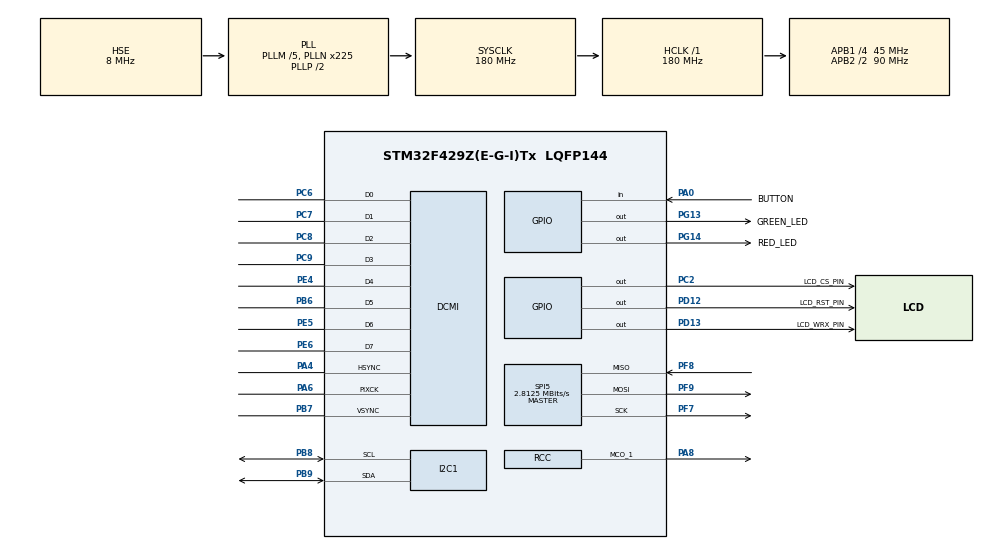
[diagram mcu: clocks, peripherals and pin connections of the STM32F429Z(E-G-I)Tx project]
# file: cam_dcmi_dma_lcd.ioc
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DCMI.PCKPolarity=DCMI_PCKPOLARITY_RISING
DCMI.VSPolarity=DCMI_VSPOLARITY_HIGH
Dma.DCMI.0.Channel=DMA_CHANNEL_1
Dma.DCMI.0.Direction=DMA_PERIPH_TO_MEMORY
Dma.DCMI.0.FIFOMode=DMA_FIFOMODE_ENABLE
Dma.DCMI.0.FIFOThreshold=DMA_FIFO_THRESHOLD_FULL
Dma.DCMI.0.Instance=DMA2_Stream1
Dma.DCMI.0.MemBurst=DMA_MBURST_SINGLE
Dma.DCMI.0.MemDataAlignment=DMA_MDATAALIGN_HALFWORD
Dma.DCMI.0.MemInc=DMA_MINC_ENABLE
Dma.DCMI.0.Mode=DMA_NORMAL
Dma.DCMI.0.PeriphBurst=DMA_PBURST_SINGLE
Dma.DCMI.0.PeriphDataAlignment=DMA_PDATAALIGN_WORD
Dma.DCMI.0.PeriphInc=DMA_PINC_DISABLE
Dma.DCMI.0.Priority=DMA_PRIORITY_VERY_HIGH
Dma.Request0=DCMI
Mcu.Family=STM32F4
Mcu.Name=STM32F429Z(E-G-I)Tx
Mcu.Package=LQFP144
NVIC.DCMI_IRQn=true\:0\:0\:false
NVIC.DMA2_Stream1_IRQn=true\:0\:0\:false
NVIC.PriorityGroup=NVIC_PRIORITYGROUP_0
NVIC.TIM3_IRQn=true\:0\:0\:false
PA0/WKUP.GPIO_Label=BUTTON
PA0/WKUP.GPIO_Mode=GPIO_MODE_INPUT
PA0/WKUP.GPIO_PuPd=GPIO_PULLDOWN
PA0/WKUP.Signal=GPIO_Input
PA13.Mode=Serial-Wire
PA13.Signal=SYS_JTMS-SWDIO
PA14.Mode=Serial-Wire
PA14.Signal=SYS_JTCK-SWCLK
PA4.Mode=Slave_8_bits_External_Synchro
PA4.Signal=DCMI_HSYNC
PA6.Mode=Slave_8_bits_External_Synchro
PA6.Signal=DCMI_PIXCK
PA8.GPIO_Mode=GPIO_MODE_AF_PP
PA8.GPIO_PuPd=GPIO_PULLUP
PA8.GPIO_Speed=GPIO_SPEED_HIGH
PA8.Mode=Clock-out-1
PA8.Signal=RCC_MCO_1
PB6.Mode=Slave_8_bits_External_Synchro
PB6.Signal=DCMI_D5
PB7.GPIO_Mode=GPIO_MODE_AF_PP
PB7.GPIO_PuPd=GPIO_NOPULL
PB7.GPIO_Speed=GPIO_SPEED_LOW
PB7.Mode=Slave_8_bits_External_Synchro
PB7.Signal=DCMI_VSYNC
PB8.GPIO_Mode=GPIO_MODE_AF_OD
PB8.GPIO_PuPdOD=GPIO_PULLUP
PB8.GPIO_Speed=GPIO_SPEED_LOW
PB8.Mode=I2C
PB8.Signal=I2C1_SCL
PB9.GPIO_Mode=GPIO_MODE_AF_OD
PB9.GPIO_PuPdOD=GPIO_PULLUP
PB9.GPIO_Speed=GPIO_SPEED_LOW
PB9.Mode=I2C
PB9.Signal=I2C1_SDA
PC2.GPIO_Label=LCD_CS_PIN
PC2.GPIO_ModeDefaultOutputPP=GPIO_MODE_OUTPUT_PP
PC2.GPIO_PuPd=GPIO_NOPULL
PC2.GPIO_Speed=GPIO_SPEED_FAST
PC2.Signal=GPIO_Output
PC6.Mode=Slave_8_bits_External_Synchro
PC6.Signal=DCMI_D0
PC7.Mode=Slave_8_bits_External_Synchro
PC7.Signal=DCMI_D1
PC8.Mode=Slave_8_bits_External_Synchro
PC8.Signal=DCMI_D2
PC9.Mode=Slave_8_bits_External_Synchro
PC9.Signal=DCMI_D3
PD12.GPIO_Label=LCD_RST_PIN
PD12.GPIO_ModeDefaultOutputPP=GPIO_MODE_OUTPUT_PP
PD12.GPIO_PuPd=GPIO_NOPULL
PD12.GPIO_Speed=GPIO_SPEED_FAST
PD12.Signal=GPIO_Output
PD13.GPIO_Label=LCD_WRX_PIN
PD13.GPIO_ModeDefaultOutputPP=GPIO_MODE_OUTPUT_PP
PD13.GPIO_PuPd=GPIO_NOPULL
PD13.GPIO_Speed=GPIO_SPEED_FAST
PD13.Signal=GPIO_Output
PE4.Mode=Slave_8_bits_External_Synchro
PE4.Signal=DCMI_D4
PE5.Mode=Slave_8_bits_External_Synchro
PE5.Signal=DCMI_D6
PE6.Mode=Slave_8_bits_External_Synchro
PE6.Signal=DCMI_D7
PF7.Mode=Full_Duplex_Master
PF7.Signal=SPI5_SCK
PF8.Mode=Full_Duplex_Master
PF8.Signal=SPI5_MISO
PF9.Mode=Full_Duplex_Master
PF9.Signal=SPI5_MOSI
PG13.GPIO_Label=GREEN_LED
PG13.GPIO_ModeDefaultOutputPP=GPIO_MODE_OUTPUT_PP
PG13.GPIO_PuPd=GPIO_NOPULL
PG13.GPIO_Speed=GPIO_SPEED_HIGH
PG13.Signal=GPIO_Output
PG14.GPIO_Label=RED_LED
PG14.GPIO_ModeDefaultOutputPP=GPIO_MODE_OUTPUT_PP
PG14.GPIO_PuPd=GPIO_NOPULL
PG14.GPIO_Speed=GPIO_SPEED_HIGH
PG14.Signal=GPIO_Output
PH0/OSC_IN.Mode=HSE-External-Oscillator
PH0/OSC_IN.Signal=RCC_OSC_IN
PH1/OSC_OUT.Mode=HSE-External-Oscillator
PH1/OSC_OUT.Signal=RCC_OSC_OUT
ProjectManager.TargetToolchain=MDK-ARM V5
RCC.48MHZClocksFreq_Value=51428571.428571425
RCC.AHBFreq_Value=180000000
RCC.APB1CLKDivider=RCC_HCLK_DIV4
RCC.APB1Freq_Value=45000000
RCC.APB1TimFreq_Value=90000000
RCC.APB2CLKDivider=RCC_HCLK_DIV2
RCC.APB2Freq_Value=90000000
RCC.APB2TimFreq_Value=180000000
RCC.CortexFreq_Value=180000000
RCC.EnbaleCSS=true
RCC.HCLKFreq_Value=180000000
RCC.HSE_VALUE=8000000
RCC.HSI_VALUE=16000000
RCC.LSE_VALUE=32768
RCC.PLLM=5
RCC.PLLN=225
RCC.PLLQ=7
RCC.PLLSourceVirtual=RCC_PLLSOURCE_HSE
RCC.RCC_MCO1Source=RCC_MCO1SOURCE_PLLCLK
RCC.RCC_MCODiv1=RCC_MCODIV_4
RCC.SYSCLKFreq_VALUE=180000000
RCC.SYSCLKSource=RCC_SYSCLKSOURCE_PLLCLK
RCC.VCOOutputFreq_Value=360000000
SPI5.BaudRatePrescaler=SPI_BAUDRATEPRESCALER_32
SPI5.CalculateBaudRate=2.8125 MBits/s
SPI5.DataSize=SPI_DATASIZE_8BIT
SPI5.Mode=SPI_MODE_MASTER
TIM3.ClockDivision=TIM_CLOCKDIVISION_DIV2
TIM3.Period=1999
TIM3.Prescaler=44999
VP_TIM3_VS_ClockSourceINT.Mode=Internal
board=STM32F429I-DISCO

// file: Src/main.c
/**
  ******************************************************************************
  * File Name          : main.c
  * Description        : Main program body
  ******************************************************************************
  *
  * COPYRIGHT(c) 2015 STMicroelectronics
  *
  * Redistribution and use in source and binary forms, with or without modification,
  * are permitted provided that the following conditions are met:
  *   1. Redistributions of source code must retain the above copyright notice,
  *      this list of conditions and the following disclaimer.
  *   2. Redistributions in binary form must reproduce the above copyright notice,
  *      this list of conditions and the following disclaimer in the documentation
  *      and/or other materials provided with the distribution.
  *   3. Neither the name of STMicroelectronics nor the names of its contributors
  *      may be used to endorse or promote products derived from this software
  *      without specific prior written permission.
  *
  * THIS SOFTWARE IS PROVIDED BY THE COPYRIGHT HOLDERS AND CONTRIBUTORS "AS IS"
  * AND ANY EXPRESS OR IMPLIED WARRANTIES, INCLUDING, BUT NOT LIMITED TO, THE
  * IMPLIED WARRANTIES OF MERCHANTABILITY AND FITNESS FOR A PARTICULAR PURPOSE ARE
  * DISCLAIMED. IN NO EVENT SHALL THE COPYRIGHT HOLDER OR CONTRIBUTORS BE LIABLE
  * FOR ANY DIRECT, INDIRECT, INCIDENTAL, SPECIAL, EXEMPLARY, OR CONSEQUENTIAL
  * DAMAGES (INCLUDING, BUT NOT LIMITED TO, PROCUREMENT OF SUBSTITUTE GOODS OR
  * SERVICES; LOSS OF USE, DATA, OR PROFITS; OR BUSINESS INTERRUPTION) HOWEVER
  * CAUSED AND ON ANY THEORY OF LIABILITY, WHETHER IN CONTRACT, STRICT LIABILITY,
  * OR TORT (INCLUDING NEGLIGENCE OR OTHERWISE) ARISING IN ANY WAY OUT OF THE USE
  * OF THIS SOFTWARE, EVEN IF ADVISED OF THE POSSIBILITY OF SUCH DAMAGE.
  *
  ******************************************************************************
  */
#include "stm32f4xx_hal.h"

/* USER CODE BEGIN Includes */
#include "lcd_ili9341.h"
#include <stdbool.h>
#include <stdio.h>
#include <stdlib.h>
#include <string.h>
/* USER CODE END Includes */

DCMI_HandleTypeDef hdcmi;
DMA_HandleTypeDef hdma_dcmi;

I2C_HandleTypeDef hi2c1;

SPI_HandleTypeDef hspi5;

TIM_HandleTypeDef htim3;

/* USER CODE BEGIN PV */
/* Private variables ---------------------------------------------------------*/

// OV7720 camera settings
#define OV7720_REG_NUM 			4
#define OV7720_WRITE_ADDR 	0x42
#define OV7720_READ_ADDR 		0x43

// Image settings
#define IMG_ROWS   					320
#define IMG_COLUMNS   			240

uint8_t OV7720_reg2 [OV7720_REG_NUM][2] = {
	{0x12, 0x80},		// Reset registers
	{0x12, 0x46},		// QVGA size, RGB mode, RGB565
	//{0x0c, 0x20},		// swap R/B bits
	//{0x0c, 0xC0},		// v+h flip
	//{0x0c, 0xE0},		// v+h flip, swap R/B bits
	{0x11, 0x01},		// PCLK settings (0x01 - XCLK/1, 0x03 - XCLK/2)
};

static volatile uint32_t frame_buffer[IMG_ROWS*IMG_COLUMNS/2];
static volatile bool frame_captured = false;
static volatile uint16_t fps = 0;
static volatile uint16_t frames = 0;
static char buffer[10];

/* USER CODE END PV */

void SystemClock_Config(void);
static void MX_GPIO_Init(void);
static void MX_DMA_Init(void);
static void MX_DCMI_Init(void);
static void MX_I2C1_Init(void);
static void MX_SPI5_Init(void);
static void MX_TIM3_Init(void);

/* USER CODE BEGIN PFP */
/* Private function prototypes -----------------------------------------------*/

/* USER CODE END PFP */

/* USER CODE BEGIN 0 */

bool SCCB_Write(uint8_t addr, uint8_t data)
{
    bool err = false;
    uint8_t buf[] = {addr, data};

    __disable_irq();
    if (HAL_I2C_Master_Transmit(&hi2c1, OV7720_WRITE_ADDR, buf, (uint16_t)2, 1000) != HAL_OK) {
        err = true;
    }
    __enable_irq();
    return err;
}

static bool OV7720_init(void)
{
	bool error = false;

	// Set camera registers
	for(uint8_t i=0; i<OV7720_REG_NUM ;i++)
	{
		error = SCCB_Write(OV7720_reg2[i][0], OV7720_reg2[i][1]);
		if (error == true) break;

		LCD_ILI9341_DrawFilledRectangle_ImageBuffer(100+i*(120/OV7720_REG_NUM), 110, 100+(i+1)*(120/OV7720_REG_NUM), 130, ILI9341_COLOR_WHITE, (uint8_t*)frame_buffer);
		LCD_ILI9341_DisplayImage((uint16_t*)frame_buffer);
	}

	return error;
}

void DMA_TransferComplete(DMA_HandleTypeDef *hdma)
{
  frame_captured = true;
	frames++;
}

void HAL_TIM_PeriodElapsedCallback(TIM_HandleTypeDef *htim) {
	fps = frames;
	frames = 0;
}

/* USER CODE END 0 */

int main(void)
{

  /* USER CODE BEGIN 1 */
	bool error = false;
  /* USER CODE END 1 */

  /* MCU Configuration----------------------------------------------------------*/

  /* Reset of all peripherals, Initializes the Flash interface and the Systick. */
  HAL_Init();

  /* Configure the system clock */
  SystemClock_Config();

  /* Initialize all configured peripherals */
  MX_GPIO_Init();
  MX_DMA_Init();
  MX_DCMI_Init();
  MX_I2C1_Init();
  MX_SPI5_Init();
  MX_TIM3_Init();

  /* USER CODE BEGIN 2 */
	LCD_ILI9341_Init(&hspi5);
	LCD_ILI9341_Rotate(LCD_ILI9341_Orientation_Landscape_2);
  LCD_ILI9341_Fill(ILI9341_COLOR_BLACK);

	LCD_ILI9341_Puts_ImageBuffer(20, 55, "Configuring camera", &LCD_Font_16x26, ILI9341_COLOR_WHITE, (uint8_t*)frame_buffer);
	LCD_ILI9341_DrawRectangle_ImageBuffer(100, 110, 220, 130, ILI9341_COLOR_WHITE, (uint8_t*)frame_buffer);
	LCD_ILI9341_DisplayImage((uint16_t*)frame_buffer);

	// Configure camera
	error = OV7720_init();

	if (error == true)
	{
		LCD_ILI9341_Puts_ImageBuffer(100, 165, "Failed", &LCD_Font_16x26, ILI9341_COLOR_RED, (uint8_t*)frame_buffer);
		LCD_ILI9341_Puts_ImageBuffer(20, 200, "Push reset button", &LCD_Font_16x26, ILI9341_COLOR_WHITE, (uint8_t*)frame_buffer);
		LCD_ILI9341_DisplayImage((uint16_t*)frame_buffer);
		while(1){}
	}
	else
	{
		LCD_ILI9341_Puts_ImageBuffer(100, 165, "Success", &LCD_Font_16x26, ILI9341_COLOR_GREEN, (uint8_t*)frame_buffer);
		LCD_ILI9341_DisplayImage((uint16_t*)frame_buffer);
	}

	LCD_SPI_BaudRateUp();
	//LCD_ILI9341_Rotate(LCD_ILI9341_Orientation_Landscape_1);

	HAL_TIM_Base_Start_IT(&htim3);

	// DCMI_MODE_SNAPSHOT / DCMI_MODE_CONTINUOUS
	HAL_DCMI_Start_DMA(&hdcmi, DCMI_MODE_SNAPSHOT, (uint32_t)frame_buffer, (uint32_t)(IMG_ROWS*IMG_COLUMNS*2/4));
	hdcmi.DMA_Handle->XferCpltCallback = DMA_TransferComplete;

  /* USER CODE END 2 */

  /* Infinite loop */
  while (1)
  {

  /* USER CODE BEGIN 3 */
		if(frame_captured == true)
		{
			snprintf(buffer, 10, "%d FPS", fps);
			LCD_ILI9341_Puts_ImageBuffer(10, 10, buffer, &LCD_Font_7x10, ILI9341_COLOR_GREEN, (uint8_t*)frame_buffer);
			//LCD_ILI9341_DrawRectangleMem(10, 10, 20, 20, ILI9341_COLOR_GREEN, (uint8_t*)frame_buffer);
			// Show camera image
			LCD_ILI9341_DisplayImage((uint16_t*)frame_buffer);
			//HAL_SPI_Transmit_DMA(&hspi5, (uint8_t*)frame_buffer, (uint16_t)(IMG_ROWS*IMG_COLUMNS));

			frame_captured = false;
			HAL_DCMI_Start_DMA(&hdcmi, DCMI_MODE_SNAPSHOT, (uint32_t)frame_buffer, (uint32_t)(IMG_ROWS*IMG_COLUMNS*2/4));
			hdcmi.DMA_Handle->XferCpltCallback = DMA_TransferComplete;
		}
  }
  /* USER CODE END 3 */

}

/** System Clock Configuration
*/
void SystemClock_Config(void)
{

  RCC_OscInitTypeDef RCC_OscInitStruct;
  RCC_ClkInitTypeDef RCC_ClkInitStruct;

  __PWR_CLK_ENABLE();

  __HAL_PWR_VOLTAGESCALING_CONFIG(PWR_REGULATOR_VOLTAGE_SCALE1);

  RCC_OscInitStruct.OscillatorType = RCC_OSCILLATORTYPE_HSE;
  RCC_OscInitStruct.HSEState = RCC_HSE_ON;
  RCC_OscInitStruct.PLL.PLLState = RCC_PLL_ON;
  RCC_OscInitStruct.PLL.PLLSource = RCC_PLLSOURCE_HSE;
  RCC_OscInitStruct.PLL.PLLM = 5;
  RCC_OscInitStruct.PLL.PLLN = 225;
  RCC_OscInitStruct.PLL.PLLP = RCC_PLLP_DIV2;
  RCC_OscInitStruct.PLL.PLLQ = 7;
  HAL_RCC_OscConfig(&RCC_OscInitStruct);

  HAL_PWREx_ActivateOverDrive();

  RCC_ClkInitStruct.ClockType = RCC_CLOCKTYPE_SYSCLK|RCC_CLOCKTYPE_PCLK1
                              |RCC_CLOCKTYPE_PCLK2;
  RCC_ClkInitStruct.SYSCLKSource = RCC_SYSCLKSOURCE_PLLCLK;
  RCC_ClkInitStruct.AHBCLKDivider = RCC_SYSCLK_DIV1;
  RCC_ClkInitStruct.APB1CLKDivider = RCC_HCLK_DIV4;
  RCC_ClkInitStruct.APB2CLKDivider = RCC_HCLK_DIV2;
  HAL_RCC_ClockConfig(&RCC_ClkInitStruct, FLASH_LATENCY_5);

  HAL_RCC_MCOConfig(RCC_MCO1, RCC_MCO1SOURCE_PLLCLK, RCC_MCODIV_4);

  HAL_RCC_EnableCSS();

  HAL_SYSTICK_Config(HAL_RCC_GetHCLKFreq()/1000);

  HAL_SYSTICK_CLKSourceConfig(SYSTICK_CLKSOURCE_HCLK);

  /* SysTick_IRQn interrupt configuration */
  HAL_NVIC_SetPriority(SysTick_IRQn, 0, 0);
}

/* DCMI init function */
void MX_DCMI_Init(void)
{

  hdcmi.Instance = DCMI;
  hdcmi.Init.SynchroMode = DCMI_SYNCHRO_HARDWARE;
  hdcmi.Init.PCKPolarity = DCMI_PCKPOLARITY_RISING;
  hdcmi.Init.VSPolarity = DCMI_VSPOLARITY_HIGH;
  hdcmi.Init.HSPolarity = DCMI_HSPOLARITY_LOW;
  hdcmi.Init.CaptureRate = DCMI_CR_ALL_FRAME;
  hdcmi.Init.ExtendedDataMode = DCMI_EXTEND_DATA_8B;
  hdcmi.Init.JPEGMode = DCMI_JPEG_DISABLE;
  HAL_DCMI_Init(&hdcmi);

}

/* I2C1 init function */
void MX_I2C1_Init(void)
{

  hi2c1.Instance = I2C1;
  hi2c1.Init.ClockSpeed = 100000;
  hi2c1.Init.DutyCycle = I2C_DUTYCYCLE_2;
  hi2c1.Init.OwnAddress1 = 0;
  hi2c1.Init.AddressingMode = I2C_ADDRESSINGMODE_7BIT;
  hi2c1.Init.DualAddressMode = I2C_DUALADDRESS_DISABLED;
  hi2c1.Init.OwnAddress2 = 0;
  hi2c1.Init.GeneralCallMode = I2C_GENERALCALL_DISABLED;
  hi2c1.Init.NoStretchMode = I2C_NOSTRETCH_DISABLED;
  HAL_I2C_Init(&hi2c1);

}

/* SPI5 init function */
void MX_SPI5_Init(void)
{

  hspi5.Instance = SPI5;
  hspi5.Init.Mode = SPI_MODE_MASTER;
  hspi5.Init.Direction = SPI_DIRECTION_2LINES;
  hspi5.Init.DataSize = SPI_DATASIZE_8BIT;
  hspi5.Init.CLKPolarity = SPI_POLARITY_LOW;
  hspi5.Init.CLKPhase = SPI_PHASE_1EDGE;
  hspi5.Init.NSS = SPI_NSS_SOFT;
  hspi5.Init.BaudRatePrescaler = SPI_BAUDRATEPRESCALER_32;
  hspi5.Init.FirstBit = SPI_FIRSTBIT_MSB;
  hspi5.Init.TIMode = SPI_TIMODE_DISABLED;
  hspi5.Init.CRCCalculation = SPI_CRCCALCULATION_DISABLED;
  hspi5.Init.CRCPolynomial = 10;
  HAL_SPI_Init(&hspi5);

}

/* TIM3 init function */
void MX_TIM3_Init(void)
{

  TIM_ClockConfigTypeDef sClockSourceConfig;
  TIM_MasterConfigTypeDef sMasterConfig;

  htim3.Instance = TIM3;
  htim3.Init.Prescaler = 44999;
  htim3.Init.CounterMode = TIM_COUNTERMODE_UP;
  htim3.Init.Period = 1999;
  htim3.Init.ClockDivision = TIM_CLOCKDIVISION_DIV2;
  HAL_TIM_Base_Init(&htim3);

  sClockSourceConfig.ClockSource = TIM_CLOCKSOURCE_INTERNAL;
  HAL_TIM_ConfigClockSource(&htim3, &sClockSourceConfig);

  sMasterConfig.MasterOutputTrigger = TIM_TRGO_RESET;
  sMasterConfig.MasterSlaveMode = TIM_MASTERSLAVEMODE_DISABLE;
  HAL_TIMEx_MasterConfigSynchronization(&htim3, &sMasterConfig);

}

void MX_DMA_Init(void)
{
  /* DMA controller clock enable */
  __DMA2_CLK_ENABLE();

  /* DMA interrupt init */
  HAL_NVIC_SetPriority(DMA2_Stream1_IRQn, 0, 0);
  HAL_NVIC_EnableIRQ(DMA2_Stream1_IRQn);

}

/** Configure pins as
        * Analog
        * Input
        * Output
        * EVENT_OUT
        * EXTI
     PA8   ------> RCC_MCO_1
*/
void MX_GPIO_Init(void)
{

  GPIO_InitTypeDef GPIO_InitStruct;

  /* GPIO Ports Clock Enable */
  __GPIOE_CLK_ENABLE();
  __GPIOF_CLK_ENABLE();
  __GPIOH_CLK_ENABLE();
  __GPIOC_CLK_ENABLE();
  __GPIOA_CLK_ENABLE();
  __GPIOD_CLK_ENABLE();
  __GPIOG_CLK_ENABLE();
  __GPIOB_CLK_ENABLE();

  /*Configure GPIO pin : PC2 */
  GPIO_InitStruct.Pin = GPIO_PIN_2;
  GPIO_InitStruct.Mode = GPIO_MODE_OUTPUT_PP;
  GPIO_InitStruct.Pull = GPIO_NOPULL;
  GPIO_InitStruct.Speed = GPIO_SPEED_FAST;
  HAL_GPIO_Init(GPIOC, &GPIO_InitStruct);

  /*Configure GPIO pin : PA0 */
  GPIO_InitStruct.Pin = GPIO_PIN_0;
  GPIO_InitStruct.Mode = GPIO_MODE_INPUT;
  GPIO_InitStruct.Pull = GPIO_PULLDOWN;
  HAL_GPIO_Init(GPIOA, &GPIO_InitStruct);

  /*Configure GPIO pins : PD12 PD13 */
  GPIO_InitStruct.Pin = GPIO_PIN_12|GPIO_PIN_13;
  GPIO_InitStruct.Mode = GPIO_MODE_OUTPUT_PP;
  GPIO_InitStruct.Pull = GPIO_NOPULL;
  GPIO_InitStruct.Speed = GPIO_SPEED_FAST;
  HAL_GPIO_Init(GPIOD, &GPIO_InitStruct);

  /*Configure GPIO pin : PA8 */
  GPIO_InitStruct.Pin = GPIO_PIN_8;
  GPIO_InitStruct.Mode = GPIO_MODE_AF_PP;
  GPIO_InitStruct.Pull = GPIO_PULLUP;
  GPIO_InitStruct.Speed = GPIO_SPEED_HIGH;
  GPIO_InitStruct.Alternate = GPIO_AF0_MCO;
  HAL_GPIO_Init(GPIOA, &GPIO_InitStruct);

  /*Configure GPIO pins : PG13 PG14 */
  GPIO_InitStruct.Pin = GPIO_PIN_13|GPIO_PIN_14;
  GPIO_InitStruct.Mode = GPIO_MODE_OUTPUT_PP;
  GPIO_InitStruct.Pull = GPIO_NOPULL;
  GPIO_InitStruct.Speed = GPIO_SPEED_HIGH;
  HAL_GPIO_Init(GPIOG, &GPIO_InitStruct);

}

/************************ (C) COPYRIGHT STMicroelectronics *****END OF FILE****/
